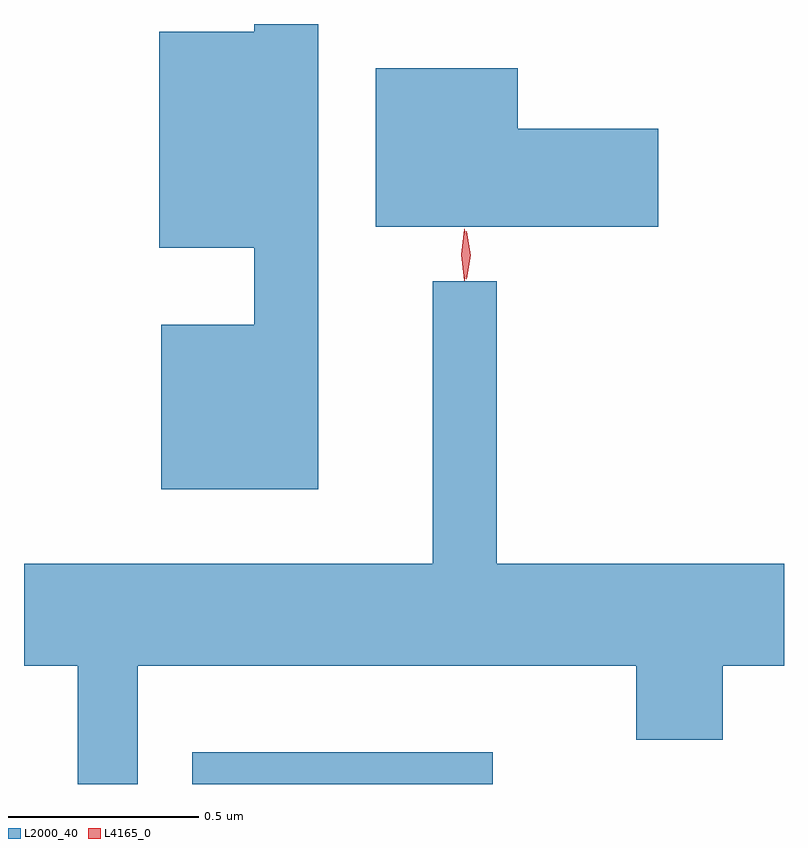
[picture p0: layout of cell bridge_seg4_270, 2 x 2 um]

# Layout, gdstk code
import gdstk
lib = gdstk.Library(unit=1e-6, precision=1e-09)
def R(c, l, rs):  # rectangles x0, y0, x1, y1
    for r in rs: c.add(gdstk.rectangle(r[:2], r[2:], *l))
def P(c, l, *ps):  # polygons
    for p in ps: c.add(gdstk.Polygon(p, *l))
L2000_40 = (2000, 40)
L4165_0 = (4165, 0)

bridge_seg4_270 = lib.new_cell('bridge_seg4_270')
R(bridge_seg4_270, L2000_40, [(761.128,1354.365,761.919,1354.449)])
P(bridge_seg4_270, L2000_40, [(761.459,1356.365),(761.291,1356.365),(761.291,1356.344),(761.041,1356.344),(761.041,1355.776),(761.291,1355.776),(761.291,1355.574),(761.046,1355.574),(761.046,1355.141),(761.459,1355.141)],
  [(762.354,1356.089),(761.984,1356.089),(761.984,1356.249),(761.611,1356.249),(761.611,1355.831),(762.354,1355.831)],
  [(760.984,1354.676),(762.296,1354.676),(762.296,1354.481),(762.524,1354.481),(762.524,1354.676),(762.685,1354.676),(762.685,1354.944),(761.929,1354.944),(761.929,1355.688),(761.761,1355.688),(761.761,1354.944),(760.685,1354.944),(760.685,1354.676),(760.826,1354.676),(760.826,1354.365),(760.984,1354.365)])
P(bridge_seg4_270, L4165_0, [(761.85,1355.693),(761.849,1355.694),(761.84,1355.756),(761.849,1355.82),(761.85,1355.82),(761.85,1355.82),(761.86,1355.756),(761.85,1355.694)],
  [(761.844,1355.69),(761.835,1355.758),(761.844,1355.825),(761.844,1355.826),(761.845,1355.825),(761.854,1355.758),(761.845,1355.69),(761.845,1355.69)])

lib.write_gds('bridge_seg4_270.gds')
